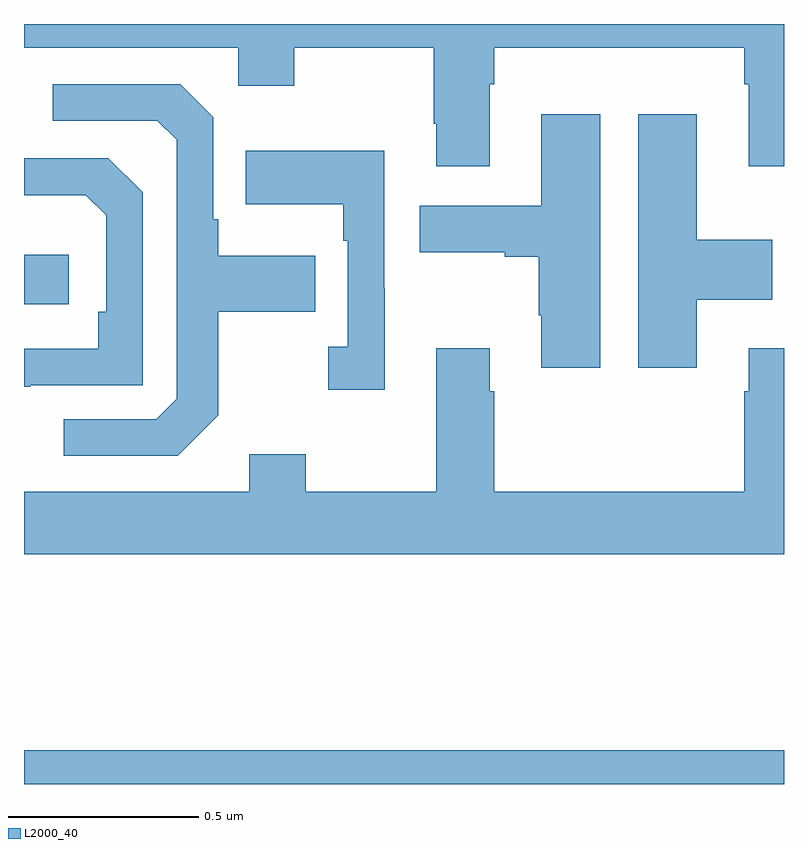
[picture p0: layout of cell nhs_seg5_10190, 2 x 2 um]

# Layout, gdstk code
import gdstk
lib = gdstk.Library(unit=1e-6, precision=1e-09)
def R(c, l, rs):  # rectangles x0, y0, x1, y1
    for r in rs: c.add(gdstk.rectangle(r[:2], r[2:], *l))
def P(c, l, *ps):  # polygons
    for p in ps: c.add(gdstk.Polygon(p, *l))
L2000_40 = (2000, 40)

nhs_seg5_10190 = lib.new_cell('nhs_seg5_10190')
R(nhs_seg5_10190, L2000_40, [(243,878.799,245,878.888), (243,880.062,243.118,880.192)])
P(nhs_seg5_10190, L2000_40, [(243,880.736),(243.564,880.736),(243.564,880.637),(243.711,880.637),(243.711,880.736),(244.078,880.736),(244.078,880.537),(244.085,880.537),(244.085,880.425),(244.225,880.425),(244.225,880.64),(244.238,880.64),(244.238,880.736),(244.895,880.736),(244.895,880.64),(244.907,880.64),(244.907,880.425),(245,880.425),(245,880.799),(243,880.799)],
  [(243.511,879.769),(243.511,880.042),(243.767,880.042),(243.767,880.189),(243.511,880.189),(243.511,880.285),(243.498,880.285),(243.498,880.554),(243.411,880.641),(243.075,880.641),(243.075,880.545),(243.351,880.545),(243.402,880.494),(243.402,879.813),(243.348,879.759),(243.105,879.759),(243.105,879.663),(243.405,879.663)],
  [(244.516,880.561),(244.361,880.561),(244.361,880.321),(244.041,880.321),(244.041,880.199),(244.265,880.199),(244.265,880.187),(244.354,880.187),(244.354,880.033),(244.361,880.033),(244.361,879.894),(244.516,879.894)],
  [(244.771,880.073),(244.969,880.073),(244.969,880.231),(244.771,880.231),(244.771,880.561),(244.616,880.561),(244.616,879.894),(244.771,879.894)],
  [(243.949,880.103),(243.948,880.103),(243.948,880.465),(243.583,880.465),(243.583,880.325),(243.84,880.325),(243.84,880.229),(243.852,880.229),(243.852,879.95),(243.801,879.95),(243.801,879.837),(243.949,879.837)],
  [(243.017,879.849),(243.312,879.849),(243.312,880.356),(243.222,880.446),(243,880.446),(243,880.349),(243.163,880.349),(243.216,880.296),(243.216,880.042),(243.196,880.042),(243.196,879.945),(243,879.945),(243,879.844),(243.017,879.844)],
  [(245,879.946),(244.907,879.946),(244.907,879.833),(244.895,879.833),(244.895,879.568),(244.238,879.568),(244.238,879.833),(244.225,879.833),(244.225,879.946),(244.085,879.946),(244.085,879.568),(243.741,879.568),(243.741,879.667),(243.593,879.667),(243.593,879.568),(243,879.568),(243,879.404),(245,879.404)])

lib.write_gds('nhs_seg5_10190.gds')
